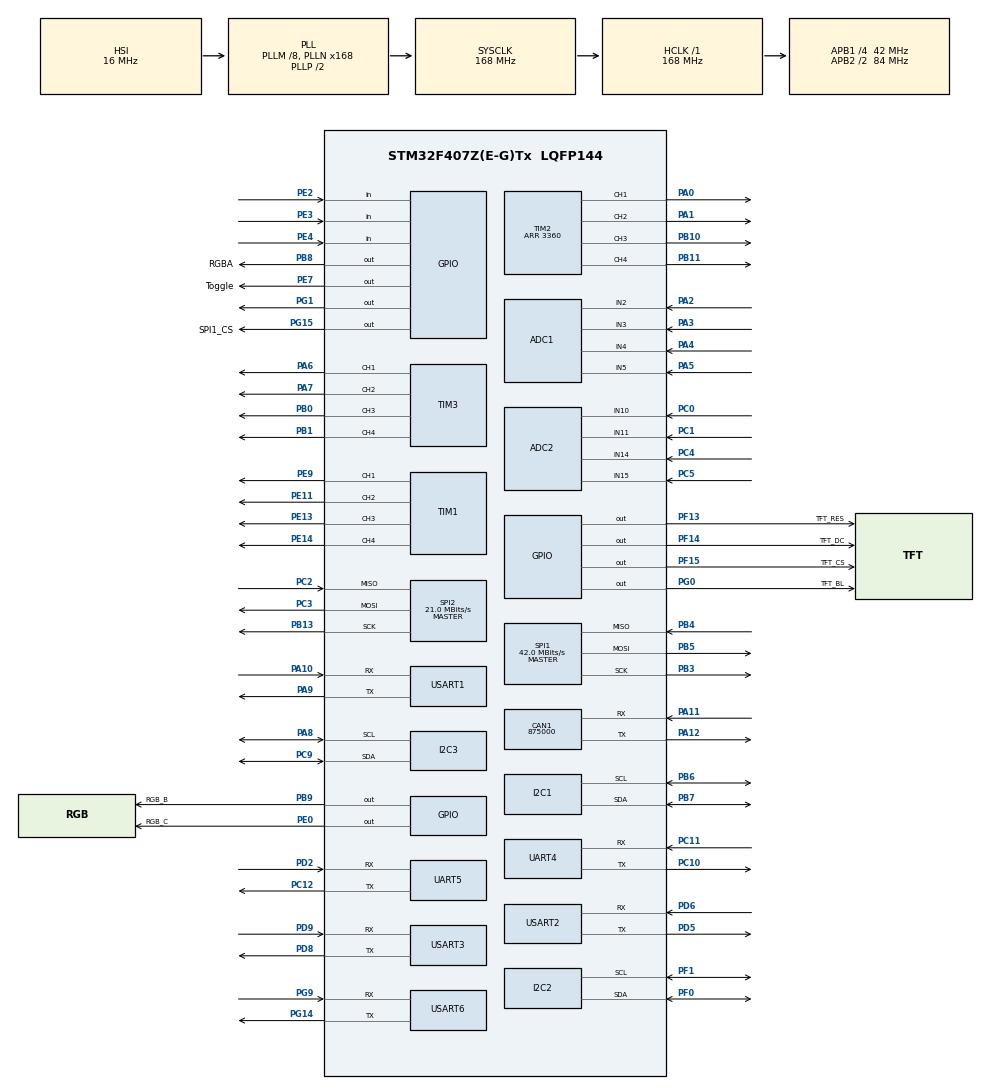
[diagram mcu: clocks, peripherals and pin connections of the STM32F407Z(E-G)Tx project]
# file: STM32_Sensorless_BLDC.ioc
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ADC1.Channel-0\#ChannelRegularConversion=ADC_CHANNEL_5
ADC1.Channel-1\#ChannelInjectedConversion=ADC_CHANNEL_2
ADC1.Channel-2\#ChannelInjectedConversion=ADC_CHANNEL_3
ADC1.Channel-3\#ChannelInjectedConversion=ADC_CHANNEL_4
ADC1.ContinuousConvMode=ENABLE
ADC1.ExternalTrigInjecConv=ADC_EXTERNALTRIGINJECCONV_T2_CC1
ADC1.ExternalTrigInjecConvEdge=ADC_EXTERNALTRIGINJECCONVEDGE_RISINGFALLING
ADC1.InjNumberOfConversion=3
ADC1.InjectedOffset-1\#ChannelInjectedConversion=0
ADC1.InjectedOffset-2\#ChannelInjectedConversion=0
ADC1.InjectedOffset-3\#ChannelInjectedConversion=0
ADC1.InjectedRank-1\#ChannelInjectedConversion=1
ADC1.InjectedRank-2\#ChannelInjectedConversion=2
ADC1.InjectedRank-3\#ChannelInjectedConversion=3
ADC1.NbrOfConversion=1
ADC1.NbrOfConversionFlag=1
ADC1.Rank-0\#ChannelRegularConversion=1
ADC1.SamplingTime-0\#ChannelRegularConversion=ADC_SAMPLETIME_15CYCLES
ADC1.SamplingTime-1\#ChannelInjectedConversion=ADC_SAMPLETIME_28CYCLES
ADC1.SamplingTime-2\#ChannelInjectedConversion=ADC_SAMPLETIME_28CYCLES
ADC1.SamplingTime-3\#ChannelInjectedConversion=ADC_SAMPLETIME_28CYCLES
ADC1.master=1
ADC2.Channel-0\#ChannelRegularConversion=ADC_CHANNEL_15
ADC2.Channel-1\#ChannelInjectedConversion=ADC_CHANNEL_10
ADC2.Channel-2\#ChannelInjectedConversion=ADC_CHANNEL_11
ADC2.Channel-3\#ChannelInjectedConversion=ADC_CHANNEL_14
ADC2.ContinuousConvMode=ENABLE
ADC2.ExternalTrigInjecConv=ADC_EXTERNALTRIGINJECCONV_T3_CC4
ADC2.ExternalTrigInjecConvEdge=ADC_EXTERNALTRIGINJECCONVEDGE_RISINGFALLING
ADC2.InjNumberOfConversion=3
ADC2.InjectedOffset-1\#ChannelInjectedConversion=0
ADC2.InjectedOffset-2\#ChannelInjectedConversion=0
ADC2.InjectedOffset-3\#ChannelInjectedConversion=0
ADC2.InjectedRank-1\#ChannelInjectedConversion=1
ADC2.InjectedRank-2\#ChannelInjectedConversion=2
ADC2.InjectedRank-3\#ChannelInjectedConversion=3
ADC2.NbrOfConversionFlag=1
ADC2.Rank-0\#ChannelRegularConversion=1
ADC2.SamplingTime-0\#ChannelRegularConversion=ADC_SAMPLETIME_3CYCLES
ADC2.SamplingTime-1\#ChannelInjectedConversion=ADC_SAMPLETIME_15CYCLES
ADC2.SamplingTime-2\#ChannelInjectedConversion=ADC_SAMPLETIME_15CYCLES
ADC2.SamplingTime-3\#ChannelInjectedConversion=ADC_SAMPLETIME_15CYCLES
ADC2.ScanConvMode=ENABLE
CAN1.CalculateBaudRate=875000
CAN1.CalculateTimeBit=1142
CAN1.CalculateTimeQuantum=380.95238095238096
Dma.ADC1.2.Direction=DMA_PERIPH_TO_MEMORY
Dma.ADC1.2.FIFOMode=DMA_FIFOMODE_DISABLE
Dma.ADC1.2.Instance=DMA2_Stream0
Dma.ADC1.2.MemDataAlignment=DMA_MDATAALIGN_HALFWORD
Dma.ADC1.2.MemInc=DMA_MINC_ENABLE
Dma.ADC1.2.Mode=DMA_CIRCULAR
Dma.ADC1.2.PeriphDataAlignment=DMA_PDATAALIGN_HALFWORD
Dma.ADC1.2.PeriphInc=DMA_PINC_DISABLE
Dma.ADC1.2.Priority=DMA_PRIORITY_LOW
Dma.Request0=SPI2_TX
Dma.Request1=SPI1_TX
Dma.Request2=ADC1
Dma.Request3=USART1_TX
Dma.Request4=USART1_RX
Dma.Request5=USART2_RX
Dma.Request6=USART2_TX
Dma.SPI1_TX.1.Direction=DMA_MEMORY_TO_PERIPH
Dma.SPI1_TX.1.FIFOMode=DMA_FIFOMODE_DISABLE
Dma.SPI1_TX.1.Instance=DMA2_Stream3
Dma.SPI1_TX.1.MemDataAlignment=DMA_MDATAALIGN_BYTE
Dma.SPI1_TX.1.MemInc=DMA_MINC_ENABLE
Dma.SPI1_TX.1.Mode=DMA_NORMAL
Dma.SPI1_TX.1.PeriphDataAlignment=DMA_PDATAALIGN_BYTE
Dma.SPI1_TX.1.PeriphInc=DMA_PINC_DISABLE
Dma.SPI1_TX.1.Priority=DMA_PRIORITY_HIGH
Dma.SPI2_TX.0.Direction=DMA_MEMORY_TO_PERIPH
Dma.SPI2_TX.0.FIFOMode=DMA_FIFOMODE_DISABLE
Dma.SPI2_TX.0.Instance=DMA1_Stream4
Dma.SPI2_TX.0.MemDataAlignment=DMA_MDATAALIGN_BYTE
Dma.SPI2_TX.0.MemInc=DMA_MINC_ENABLE
Dma.SPI2_TX.0.Mode=DMA_NORMAL
Dma.SPI2_TX.0.PeriphDataAlignment=DMA_PDATAALIGN_BYTE
Dma.SPI2_TX.0.PeriphInc=DMA_PINC_DISABLE
Dma.SPI2_TX.0.Priority=DMA_PRIORITY_HIGH
Dma.USART1_RX.4.Direction=DMA_PERIPH_TO_MEMORY
Dma.USART1_RX.4.FIFOMode=DMA_FIFOMODE_DISABLE
Dma.USART1_RX.4.Instance=DMA2_Stream2
Dma.USART1_RX.4.MemDataAlignment=DMA_MDATAALIGN_BYTE
Dma.USART1_RX.4.MemInc=DMA_MINC_ENABLE
Dma.USART1_RX.4.Mode=DMA_NORMAL
Dma.USART1_RX.4.PeriphDataAlignment=DMA_PDATAALIGN_BYTE
Dma.USART1_RX.4.PeriphInc=DMA_PINC_DISABLE
Dma.USART1_RX.4.Priority=DMA_PRIORITY_LOW
Dma.USART1_TX.3.Direction=DMA_MEMORY_TO_PERIPH
Dma.USART1_TX.3.FIFOMode=DMA_FIFOMODE_DISABLE
Dma.USART1_TX.3.Instance=DMA2_Stream7
Dma.USART1_TX.3.MemDataAlignment=DMA_MDATAALIGN_BYTE
Dma.USART1_TX.3.MemInc=DMA_MINC_ENABLE
Dma.USART1_TX.3.Mode=DMA_NORMAL
Dma.USART1_TX.3.PeriphDataAlignment=DMA_PDATAALIGN_BYTE
Dma.USART1_TX.3.PeriphInc=DMA_PINC_DISABLE
Dma.USART1_TX.3.Priority=DMA_PRIORITY_LOW
Dma.USART2_RX.5.Direction=DMA_PERIPH_TO_MEMORY
Dma.USART2_RX.5.FIFOMode=DMA_FIFOMODE_DISABLE
Dma.USART2_RX.5.Instance=DMA1_Stream5
Dma.USART2_RX.5.MemDataAlignment=DMA_MDATAALIGN_BYTE
Dma.USART2_RX.5.MemInc=DMA_MINC_ENABLE
Dma.USART2_RX.5.Mode=DMA_NORMAL
Dma.USART2_RX.5.PeriphDataAlignment=DMA_PDATAALIGN_BYTE
Dma.USART2_RX.5.PeriphInc=DMA_PINC_DISABLE
Dma.USART2_RX.5.Priority=DMA_PRIORITY_LOW
Dma.USART2_TX.6.Direction=DMA_MEMORY_TO_PERIPH
Dma.USART2_TX.6.FIFOMode=DMA_FIFOMODE_DISABLE
Dma.USART2_TX.6.Instance=DMA1_Stream6
Dma.USART2_TX.6.MemDataAlignment=DMA_MDATAALIGN_BYTE
Dma.USART2_TX.6.MemInc=DMA_MINC_ENABLE
Dma.USART2_TX.6.Mode=DMA_NORMAL
Dma.USART2_TX.6.PeriphDataAlignment=DMA_PDATAALIGN_BYTE
Dma.USART2_TX.6.PeriphInc=DMA_PINC_DISABLE
Dma.USART2_TX.6.Priority=DMA_PRIORITY_LOW
FREERTOS.Tasks01=defaultTask,24,128,StartDefaultTask,Default,NULL,Dynamic,NULL,NULL
Mcu.Family=STM32F4
Mcu.Name=STM32F407Z(E-G)Tx
Mcu.Package=LQFP144
NVIC.ADC_IRQn=true\:5\:0\:false\:false\:true\:true\:true\:true\:true
NVIC.DMA1_Stream4_IRQn=true\:5\:0\:false\:false\:true\:true\:false\:true\:true
NVIC.DMA1_Stream5_IRQn=true\:5\:0\:false\:false\:true\:true\:false\:true\:true
NVIC.DMA1_Stream6_IRQn=true\:5\:0\:false\:false\:true\:true\:false\:true\:true
NVIC.DMA2_Stream0_IRQn=true\:5\:0\:false\:false\:true\:true\:false\:true\:true
NVIC.DMA2_Stream2_IRQn=true\:5\:0\:false\:false\:true\:true\:false\:true\:true
NVIC.DMA2_Stream3_IRQn=true\:5\:0\:false\:false\:true\:true\:false\:true\:true
NVIC.DMA2_Stream7_IRQn=true\:5\:0\:false\:false\:true\:true\:false\:true\:true
NVIC.PriorityGroup=NVIC_PRIORITYGROUP_4
NVIC.SPI1_IRQn=true\:5\:0\:false\:false\:true\:true\:true\:true\:true
NVIC.SPI2_IRQn=true\:5\:0\:false\:false\:true\:true\:true\:true\:true
NVIC.TIM1_BRK_TIM9_IRQn=true\:5\:0\:false\:false\:true\:true\:true\:true\:true
NVIC.TIM1_UP_TIM10_IRQn=true\:5\:0\:false\:false\:true\:true\:true\:true\:true
NVIC.TIM5_IRQn=true\:15\:0\:false\:false\:true\:false\:false\:true\:true
NVIC.TimeBase=TIM5_IRQn
NVIC.TimeBaseIP=TIM5
NVIC.USART1_IRQn=true\:5\:0\:false\:false\:true\:true\:true\:true\:true
NVIC.USART2_IRQn=true\:5\:0\:false\:false\:true\:true\:true\:true\:true
PA0-WKUP.Signal=S_TIM2_CH1_ETR
PA1.Signal=S_TIM2_CH2
PA10.Mode=Asynchronous
PA10.Signal=USART1_RX
PA11.Mode=CAN_Activate
PA11.Signal=CAN1_RX
PA12.Mode=CAN_Activate
PA12.Signal=CAN1_TX
PA13.Mode=Serial_Wire
PA13.Signal=SYS_JTMS-SWDIO
PA14.Mode=Serial_Wire
PA14.Signal=SYS_JTCK-SWCLK
PA2.Signal=ADCx_IN2
PA3.Signal=ADCx_IN3
PA4.Signal=ADCx_IN4
PA5.Signal=ADCx_IN5
PA6.Signal=S_TIM3_CH1
PA7.Signal=S_TIM3_CH2
PA8.Mode=I2C
PA8.Signal=I2C3_SCL
PA9.Mode=Asynchronous
PA9.Signal=USART1_TX
PB0.Signal=S_TIM3_CH3
PB1.Signal=S_TIM3_CH4
PB10.Signal=S_TIM2_CH3
PB11.Signal=S_TIM2_CH4
PB13.Mode=Full_Duplex_Master
PB13.Signal=SPI2_SCK
PB3.Mode=Full_Duplex_Master
PB3.Signal=SPI1_SCK
PB4.Mode=Full_Duplex_Master
PB4.Signal=SPI1_MISO
PB5.Mode=Full_Duplex_Master
PB5.Signal=SPI1_MOSI
PB6.Mode=I2C
PB6.Signal=I2C1_SCL
PB7.Mode=I2C
PB7.Signal=I2C1_SDA
PB8.GPIO_Label=RGBA
PB8.GPIO_PuPd=GPIO_PULLDOWN
PB8.GPIO_Speed=GPIO_SPEED_FREQ_HIGH
PB8.PinState=GPIO_PIN_SET
PB8.Signal=GPIO_Output
PB9.GPIO_Label=RGB_B
PB9.GPIO_ModeDefaultOutputPP=GPIO_MODE_OUTPUT_PP
PB9.GPIO_PuPd=GPIO_PULLDOWN
PB9.GPIO_Speed=GPIO_SPEED_FREQ_HIGH
PB9.PinState=GPIO_PIN_SET
PB9.Signal=GPIO_Output
PC0.Signal=ADCx_IN10
PC1.Signal=ADCx_IN11
PC10.Mode=Asynchronous
PC10.Signal=UART4_TX
PC11.Mode=Asynchronous
PC11.Signal=UART4_RX
PC12.Mode=Asynchronous
PC12.Signal=UART5_TX
PC14-OSC32_IN.Mode=LSE-External-Oscillator
PC14-OSC32_IN.Signal=RCC_OSC32_IN
PC15-OSC32_OUT.Mode=LSE-External-Oscillator
PC15-OSC32_OUT.Signal=RCC_OSC32_OUT
PC2.Mode=Full_Duplex_Master
PC2.Signal=SPI2_MISO
PC3.Mode=Full_Duplex_Master
PC3.Signal=SPI2_MOSI
PC4.Signal=ADCx_IN14
PC5.Signal=ADCx_IN15
PC9.Mode=I2C
PC9.Signal=I2C3_SDA
PD2.Mode=Asynchronous
PD2.Signal=UART5_RX
PD5.Mode=Asynchronous
PD5.Signal=USART2_TX
PD6.Mode=Asynchronous
PD6.Signal=USART2_RX
PD8.Mode=Asynchronous
PD8.Signal=USART3_TX
PD9.Mode=Asynchronous
PD9.Signal=USART3_RX
PE0.GPIO_Label=RGB_C
PE0.GPIO_PuPd=GPIO_PULLDOWN
PE0.GPIO_Speed=GPIO_SPEED_FREQ_HIGH
PE0.PinState=GPIO_PIN_SET
PE0.Signal=GPIO_Output
PE11.Signal=S_TIM1_CH2
PE13.Signal=S_TIM1_CH3
PE14.Signal=S_TIM1_CH4
PE2.GPIO_PuPd=GPIO_PULLUP
PE2.Signal=GPIO_Input
PE3.GPIO_PuPd=GPIO_PULLUP
PE3.Signal=GPIO_Input
PE4.GPIO_PuPd=GPIO_PULLUP
PE4.Signal=GPIO_Input
PE7.GPIO_Label=Toggle
PE7.GPIO_ModeDefaultOutputPP=GPIO_MODE_OUTPUT_PP
PE7.GPIO_PuPd=GPIO_PULLUP
PE7.GPIO_Speed=GPIO_SPEED_FREQ_HIGH
PE7.PinState=GPIO_PIN_SET
PE7.Signal=GPIO_Output
PE9.Signal=S_TIM1_CH1
PF0.Mode=I2C
PF0.Signal=I2C2_SDA
PF1.Mode=I2C
PF1.Signal=I2C2_SCL
PF13.GPIO_Label=TFT_RES
PF13.GPIO_PuPd=GPIO_PULLUP
PF13.GPIO_Speed=GPIO_SPEED_FREQ_VERY_HIGH
PF13.PinState=GPIO_PIN_SET
PF13.Signal=GPIO_Output
PF14.GPIO_Label=TFT_DC
PF14.GPIO_PuPd=GPIO_PULLUP
PF14.GPIO_Speed=GPIO_SPEED_FREQ_VERY_HIGH
PF14.PinState=GPIO_PIN_SET
PF14.Signal=GPIO_Output
PF15.GPIO_Label=TFT_CS
PF15.GPIO_PuPd=GPIO_PULLUP
PF15.GPIO_Speed=GPIO_SPEED_FREQ_VERY_HIGH
PF15.PinState=GPIO_PIN_SET
PF15.Signal=GPIO_Output
PG0.GPIO_Label=TFT_BL
PG0.GPIO_PuPd=GPIO_PULLUP
PG0.GPIO_Speed=GPIO_SPEED_FREQ_VERY_HIGH
PG0.PinState=GPIO_PIN_SET
PG0.Signal=GPIO_Output
PG1.Signal=GPIO_Output
PG14.Mode=Asynchronous
PG14.Signal=USART6_TX
PG15.GPIO_Label=SPI1_CS
PG15.GPIO_ModeDefaultOutputPP=GPIO_MODE_OUTPUT_PP
PG15.GPIO_PuPd=GPIO_PULLUP
PG15.GPIO_Speed=GPIO_SPEED_FREQ_HIGH
PG15.PinState=GPIO_PIN_SET
PG15.Signal=GPIO_Output
PG9.Mode=Asynchronous
PG9.Signal=USART6_RX
PH0-OSC_IN.Mode=HSE-External-Oscillator
PH0-OSC_IN.Signal=RCC_OSC_IN
PH1-OSC_OUT.Mode=HSE-External-Oscillator
PH1-OSC_OUT.Signal=RCC_OSC_OUT
ProjectManager.HeapSize=0x2000
ProjectManager.StackSize=0x4000
ProjectManager.TargetToolchain=MDK-ARM V5.32
RCC.48MHZClocksFreq_Value=84000000
RCC.AHBFreq_Value=168000000
RCC.APB1CLKDivider=RCC_HCLK_DIV4
RCC.APB1Freq_Value=42000000
RCC.APB1TimFreq_Value=84000000
RCC.APB2CLKDivider=RCC_HCLK_DIV2
RCC.APB2Freq_Value=84000000
RCC.APB2TimFreq_Value=168000000
RCC.CortexFreq_Value=168000000
RCC.HCLKFreq_Value=168000000
RCC.HSE_VALUE=25000000
RCC.HSI_VALUE=16000000
RCC.PLLM=8
RCC.PLLN=168
RCC.SYSCLKFreq_VALUE=168000000
RCC.SYSCLKSource=RCC_SYSCLKSOURCE_PLLCLK
RCC.VCOOutputFreq_Value=336000000
SH.ADCx_IN10.0=ADC2_IN10,IN10
SH.ADCx_IN11.0=ADC2_IN11,IN11
SH.ADCx_IN14.0=ADC2_IN14,IN14
SH.ADCx_IN15.0=ADC2_IN15,IN15
SH.ADCx_IN2.0=ADC1_IN2,IN2
SH.ADCx_IN3.0=ADC1_IN3,IN3
SH.ADCx_IN4.0=ADC1_IN4,IN4
SH.ADCx_IN5.0=ADC1_IN5,IN5
SH.S_TIM1_CH1.0=TIM1_CH1,PWM Generation1 CH1
SH.S_TIM1_CH2.0=TIM1_CH2,PWM Generation2 CH2
SH.S_TIM1_CH3.0=TIM1_CH3,PWM Generation3 CH3
SH.S_TIM1_CH4.0=TIM1_CH4,PWM Generation4 CH4
SH.S_TIM2_CH1_ETR.0=TIM2_CH1,PWM Generation1 CH1
SH.S_TIM2_CH2.0=TIM2_CH2,PWM Generation2 CH2
SH.S_TIM2_CH3.0=TIM2_CH3,PWM Generation3 CH3
SH.S_TIM2_CH4.0=TIM2_CH4,PWM Generation4 CH4
SH.S_TIM3_CH1.0=TIM3_CH1,PWM Generation1 CH1
SH.S_TIM3_CH2.0=TIM3_CH2,PWM Generation2 CH2
SH.S_TIM3_CH3.0=TIM3_CH3,PWM Generation3 CH3
SH.S_TIM3_CH4.0=TIM3_CH4,PWM Generation4 CH4
SPI1.CalculateBaudRate=42.0 MBits/s
SPI1.Direction=SPI_DIRECTION_2LINES
SPI1.Mode=SPI_MODE_MASTER
SPI1.VirtualType=VM_MASTER
SPI2.CalculateBaudRate=21.0 MBits/s
SPI2.Direction=SPI_DIRECTION_2LINES
SPI2.Mode=SPI_MODE_MASTER
SPI2.VirtualType=VM_MASTER
STMicroelectronics.X-CUBE-ALGOBUILD.1.4.0.LibraryCcDSPOoLibraryJjDSPOoLibrary=true
TIM1.Channel-PWM\ Generation1\ CH1=TIM_CHANNEL_1
TIM1.Channel-PWM\ Generation2\ CH2=TIM_CHANNEL_2
TIM1.Channel-PWM\ Generation3\ CH3=TIM_CHANNEL_3
TIM1.Channel-PWM\ Generation4\ CH4=TIM_CHANNEL_4
TIM10.Period=1000
TIM10.Prescaler=84-1
TIM2.Channel-PWM\ Generation1\ CH1=TIM_CHANNEL_1
TIM2.Channel-PWM\ Generation2\ CH2=TIM_CHANNEL_2
TIM2.Channel-PWM\ Generation3\ CH3=TIM_CHANNEL_3
TIM2.Channel-PWM\ Generation4\ CH4=TIM_CHANNEL_4
TIM2.CounterMode=TIM_COUNTERMODE_CENTERALIGNED1
TIM2.Period=3360
TIM3.Channel-PWM\ Generation1\ CH1=TIM_CHANNEL_1
TIM3.Channel-PWM\ Generation2\ CH2=TIM_CHANNEL_2
TIM3.Channel-PWM\ Generation3\ CH3=TIM_CHANNEL_3
TIM3.Channel-PWM\ Generation4\ CH4=TIM_CHANNEL_4
TIM9.Period=1000
TIM9.Prescaler=84-1
UART4.VirtualMode=Asynchronous
UART5.VirtualMode=Asynchronous
USART1.VirtualMode=VM_ASYNC
USART2.VirtualMode=VM_ASYNC
USART3.VirtualMode=VM_ASYNC
USART6.VirtualMode=VM_ASYNC
VP_FREERTOS_VS_CMSIS_V2.Mode=CMSIS_V2
VP_STMicroelectronics.X-CUBE-ALGOBUILD_VS_DSPOoLibraryJjLibrary_1.4.0_1.4.0.Mode=DSPOoLibraryJjLibrary
VP_SYS_VS_tim5.Mode=TIM5
VP_TIM10_VS_ClockSourceINT.Mode=Enable_Timer
VP_TIM1_VS_ClockSourceINT.Mode=Internal
VP_TIM2_VS_ClockSourceINT.Mode=Internal
VP_TIM3_VS_ClockSourceINT.Mode=Internal
VP_TIM9_VS_ClockSourceINT.Mode=Internal
board=custom

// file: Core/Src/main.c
/* USER CODE BEGIN Header */
/**
  ******************************************************************************
  * @file           : main.c
  * @brief          : Main program body
  ******************************************************************************
  * @attention
  *
  * Copyright (c) 2025 STMicroelectronics.
  * All rights reserved.
  *
  * This software is licensed under terms that can be found in the LICENSE file
  * in the root directory of this software component.
  * If no LICENSE file comes with this software, it is provided AS-IS.
  *
  ******************************************************************************
  */
/* USER CODE END Header */
#include "main.h"
#include "cmsis_os.h"
#include "adc.h"
#include "can.h"
#include "dma.h"
#include "i2c.h"
#include "spi.h"
#include "tim.h"
#include "usart.h"
#include "gpio.h"

/* USER CODE BEGIN Includes */
#include "arm_math.h"
#include "stdio.h"
#include "stdarg.h"
#include "AS5600.h"
#include "string.h"
#include "lcd_init.h"
#include "lcd.h"
#include "stdarg.h"
#include <string.h>
#include "fifo.h"
#include "MPU9250-DMP.h"
#include "MPU9250_RegisterMap.h"
#include "math.h"
#include "inv_mpu_dmp_motion_driver.h"
#include "inv_mpu.h"
#include "stm32_mpu9250_clk.h"
#include "stm32_mpu9250_i2c.h"
#include "Algorithmic.h"
#include "lvgl.h"                // ??????LVGL??????????????????
#include "lv_port_disp.h"        // LVGL????????
#include "lv_port_indev.h"       // LVGL????????
#include "init_file.h"
#include "foc_drv.h"
#include "pid.h"
#include "timer_utils.h"
#include "uart_task.h"
#include "current_sense.h"
#include "foc_task.h"
#include "pid_storage.h"
/* USER CODE END Includes */

/* USER CODE BEGIN PD */
/* 电流采样参数/开环调试参数已迁移到 current_sense.h / App/foc_task.c */

/* USER CODE END PD */

/* USER CODE BEGIN PV */
// float Init_Iabc[3] , Iabc[3];//predict
Udq_Struct Udq_M0;
Ualpbe_Struct Ualpbe_M0;
Iabc_Struct Iabc_M0;
Ialpbe_Struct Ialpbe_M0;
Ialpbe_Struct Ialpbe_M0_last;
Iqd_Struct Iqd_M0;
SVPWM_Struct SVPWM_M0;
AS5600 M0;
float Udc = 12.6f;
uint16_t ADC_Value[3] = {0};
uint32_t ADC_buff[3] = {0};

volatile float Mech_Angle = 0.0f;
float Elec_Angle = 0.0f;
volatile float Mech_RPM = 0.0f;
float Mech_RPM_filter = 0.0f;

uint16_t ucAdc[3];
uint8_t Flag;
float Udq[2] = {0 , 10};
float Uab[2];
float Iab[2] , Iab_Last[2];
float Idq[2];
double sincos[2];
uint32_t CNT;
uint16_t Counter;

float I_Target[2] = {0 , 0.55};
float C_Kp=0.7535 , C_Ki=0.000475;
float Speed , Speed_sum , Speed_New;
float Iq_sum;
uint16_t Speed_Target = 1000;
float S_Kp = 0.0125, S_Ki = 0.00028 , S_Kd = 0.021;
const float fc = 5000;
const float Ts = 0.00005;
float b = 2*3.1415926f*fc*Ts;
float a=0.1556;//b/(b+1)
uint8_t SpeedLoopCounter;
float We;
/* T必须和实际调用SMO()的控制节拍(FOC_LOOP_DT_S,当前0.5ms)一致,否则电流预测模型
   (Iab_fore_New的离散化)和PLL积分步长(We_fore*T)都会和真实拍频对不上,估算失准。
   之前这里硬编码的0.0007255是历史遗留值,和FOC_LOOP_DT_S对不上。 */
/* Initial SMO model values for the 720KV motor: Rs≈0.07ohm, Ls≈35uH,
   and rotor flux linkage≈0.00189Wb. */
float R = 0.07f, Ld = 0.000035f, Lq = 0.000035f,
      T = FOC_LOOP_DT_S, flux = 0.00189f;
float Iab_fore_New[2] , Iab_fore_Last[2];
float h = 2.5 , Vab[2] , Vab_Filter[2];
float Eab[2];

float Vab_alpha = 0.286;
float Theta_fore_New , Theta_fore_Last , We_fore;
float PLL_Kp =0.034 , PLL_Ki= 2.12;

float Alpha;

uint16_t CCNNTT;
uint16_t Start_Flag = 1, Start_CNT = 0;

extern float pitch_inside, roll_inside, yaw_inside;
extern uint32_t imu_task_counter;  // ???IMU????????
float pitch = 0.0f;
float roll = 0.0f;
float yaw = 0.0f;
volatile uint32_t TIM9_ISR_CNT = 0;
volatile uint32_t TIM10_ISR_CNT = 0;
uint32_t TIM9_100Hz_CNT = 0;  // 100Hz?????????
uint32_t TIM10_task_CNT = 0;
float angle = 0.0f;
PIDController PID_Current_D;
PIDController PID_Current_Q;
PIDController PID_Speed;
PIDController PID_Position;
PID_Param_t Id_pid;
PID_Param_t Iq_pid;
PID_Param_t Speed_pid;
Key_Struct_init Key[3];
// PID Q ?????????????????????
float PID_Q_Kp = 0.0f;
float PID_Q_Ki = 0.0f;
float PID_Q_Kd = 0.0f;

/* KEY_init BEGIN*/
// ????????????????s??????1kHz???
const uint16_t DEBOUNCE_MS = 5;       // 5ms ???
const uint16_t SHORT_MS = 200;        // ?????? 200ms
const uint16_t LONG_MS = 500;         // ?????? 500ms????????
const uint16_t DOUBLE_MS = 300;       // ??????????300ms
const uint16_t SINGLE_MS = 150;       // ??????????150ms
/* KEY_init END*/

/* UASRT BEGIN*/
FrameRxHandler frameHandler_one;
uint8_t rx1_buffer[BUFFER_SIZE] = {0};
volatile uint16_t rx1_len = 0;
volatile uint8_t recv1_end_flag = 0;
volatile uint8_t rx1_addr = 0;
volatile uint16_t rx1_length = 0;
volatile uint8_t rx1_data[8] = {0};
volatile uint8_t rx1_checksum = 0;
volatile uint8_t rx1_checksum_flag = 0;
uint8_t rx1_frame_buffer[BUFFER_SIZE] = {0};
volatile uint16_t rx1_frame_len = 0;

/* UASRT END*/

/* CodeSet BEGIN*/
T_FlipFlop_t Key_Y;
uint8_t Key_clk = 0;
uint8_t T_input1 = 0;
Edge_Detector_t edge_detector;
/* CodeSet END*/

/* IMU BEGIN*/
extern osMessageQueueId_t IMUQueueHandle;
extern osMessageQueueId_t FOCQueueHandle;
extern osMessageQueueId_t PIDQueueHandle;
extern osMessageQueueId_t UARTQueueHandle;
/* IMU END*/

/* USER CODE END PV */

void SystemClock_Config(void);
void MX_FREERTOS_Init(void);
/* USER CODE BEGIN PFP */

/* Private function prototypes -----------------------------------------------*/
/* ------------------?????????printf?????????????------------------*/

#if !defined(__MICROLIB)

//#pragma import(__use_no_semihosting)
__asm (".global __use_no_semihosting\n\t");
void _sys_exit(int x) //??????????????
{
  x = x;
}
//__use_no_semihosting was requested, but _ttywrch was
void _ttywrch(int ch)
{
    ch = ch;
}
struct __FILE
{
  int handle;
};
FILE __stdout;

#endif

#if defined ( __GNUC__ ) && !defined (__clang__)
#define PUTCHAR_PROTOTYPE int __io_putchar(int ch)
#else
#define PUTCHAR_PROTOTYPE int fputc(int ch, FILE *f)
#endif
PUTCHAR_PROTOTYPE
{
  UART1_SendByte((uint8_t)ch);
  return ch;
}
/* USER CODE END PFP */

/* USER CODE BEGIN 0 */

/* 独立看门狗(IWDG): 之前工程完全没有配置IWDG,固件一旦在某个ISR/任务里死锁或跑飞,
 * 除了触发HardFault(且HardFault_Handler也只是while(1)空转)之外没有任何自动恢复
 * 手段,电机可能带着最后一次写入的PWM占空比一直卡死输出。
 * 直接操作IWDG寄存器而不经HAL,避免还要把stm32f4xx_hal_iwdg.c加入Keil工程。
 * LSI约32kHz,预分频64 => 计数时钟约500Hz,重载值249 => 超时约500ms。
 * 在TIM10的1ms(现为0.5ms)FOC中断里每拍喂狗(见HAL_TIM_PeriodElapsedCallback),
 * 只要该中断还在正常跑就不会触发复位;一旦发生致命异常或FOC中断本身被卡死,
 * 500ms内没人喂狗,硬件自动复位。 */
#define IWDG_KR_UNLOCK   0x5555U
#define IWDG_KR_RELOAD   0xAAAAU
#define IWDG_KR_ENABLE   0xCCCCU
#define IWDG_PRESCALER_64_REG 0x04U
#define IWDG_RELOAD_VALUE     249U

static void IWDG_EmergencyInit(void)
{
  IWDG->KR = IWDG_KR_UNLOCK;
  IWDG->PR = IWDG_PRESCALER_64_REG;
  IWDG->RLR = IWDG_RELOAD_VALUE;
  while (IWDG->SR != 0U)
  {
    /* 等待PR/RLR写入生效 */
  }
  IWDG->KR = IWDG_KR_RELOAD;
  IWDG->KR = IWDG_KR_ENABLE;
}

/* USER CODE END 0 */

int main(void)
{

  /* MCU Configuration--------------------------------------------------------*/

  /* Reset of all peripherals, Initializes the Flash interface and the Systick. */
  HAL_Init();

  /* Configure the system clock */
  SystemClock_Config();

  /* Initialize all configured peripherals */
  MX_GPIO_Init();
  MX_DMA_Init();
  MX_ADC1_Init();
  MX_ADC2_Init();
  MX_CAN1_Init();
  MX_I2C1_Init();
  MX_I2C2_Init();
  MX_I2C3_Init();
  MX_SPI1_Init();
  MX_SPI2_Init();
  MX_TIM1_Init();
  MX_TIM2_Init();
  MX_TIM3_Init();
  MX_UART4_Init();
  MX_UART5_Init();
  MX_USART1_UART_Init();
  MX_USART2_UART_Init();
  MX_USART3_UART_Init();
  MX_USART6_UART_Init();
  MX_TIM9_Init();
  MX_TIM10_Init();
  /* USER CODE BEGIN 2 */
  // Init_All();
  __HAL_UART_ENABLE_IT(&huart1,UART_IT_IDLE);//??????
  // __HAL_UART_ENABLE_IT(&huart1,UART_IT_RXNE);//??????
  HAL_UART_Receive_DMA(&huart1,rx1_buffer,BUFFER_SIZE);
  printf("$BOOT#\r\n");
  printf("$BOOT#\r\n");

  __HAL_TIM_CLEAR_IT(&htim3,TIM_IT_UPDATE);
  HAL_TIM_Base_Start_IT(&htim3);
  __HAL_TIM_CLEAR_IT(&htim9,TIM_IT_UPDATE);
  HAL_TIM_Base_Start_IT(&htim9);

  HAL_ADCEx_InjectedStart(&hadc1);
  __HAL_ADC_ENABLE_IT(&hadc1,ADC_IT_JEOC);

  HAL_ADC_Start_IT(&hadc1);
  HAL_ADC_Start_DMA(&hadc1,(uint32_t *)ADC_buff,12);
  HAL_ADC_PollForConversion(&hadc1, 50);
  HAL_ADC_Start(&hadc1);
  // HAL_ADCEx_InjectedStart_IT(&hadc1);

  HAL_TIM_PWM_Start(&htim2,TIM_CHANNEL_1);
  __HAL_TIM_SET_COMPARE(&htim2, TIM_CHANNEL_1, 1680);
  Current_CalibrateOffset(512U);
  HAL_TIM_PWM_Start(&htim2,TIM_CHANNEL_2);
  HAL_TIM_PWM_Start(&htim2,TIM_CHANNEL_3);
  HAL_TIM_PWM_Start(&htim2,TIM_CHANNEL_4);

  svpwm_init(&Udq_M0,0.0f,0.0f);

  AS5600_Init(&M0,&hi2c2);
  DWT_Init();
  /* maxIntegral是integral项本身的兜底限幅,不是output限幅,但两者需要量级匹配:
     若maxIntegral远大于maxOutput/ki,integral在触发output限幅前就已经能让ki*integral
     单独超过maxOutput,等于兜底限幅形同虚设。这里按 maxOutput/ki 的量级来设(4V/0.1≈40),
     配合PID_Position_Calculate里新加的条件积分抗饱和逻辑,双重防止电流环输出打满时
     integral还在无意义增长导致的退饱和延迟、Iq大幅超调来回跳变。 */
  PID_Init(&PID_Current_D,4.0f,-4.0f,40.0f);
  PID_Init(&PID_Current_Q,4.0f,-4.0f,40.0f);
  /* maxIntegral曾经是0.0f: PID_Position_Calculate(Bsp/pid.c)里积分限幅是直接钳位pid->integral到
     [-maxIntegral,+maxIntegral],0意味着每次调用后积分项都被强制清零,不管上位机把Ki设成多少,
     速度环/位置环的I都不可能真正累积生效。改成和电流环同一比例(maxOutput*25)的非零值,
     只是给积分饱和留个安全上限,不代表调好的增益,具体还要上机重新试凑Ki/该限幅。 */
  /* 速度环输出直接作为Iq目标，限制在2A范围内。 */
  PID_Init(&PID_Speed,2.0f,-2.0f,25.0f);
  PID_Init(&PID_Position,200.0f,-200.0f,500.0f);
  PID_param_set(&PID_Current_D,0.0517f,0.1f,0.0f);
  PID_param_set(&PID_Current_Q,0.0517f,0.1f,0.0f);
  PID_param_set(&PID_Speed,0.01f,0.0f,0.0f);
  PID_param_set(&PID_Position,200.0f,0.0f,0.0f);
  PID_Current_D.target = 0.0f;
  PID_Current_Q.target = 0.0f;
  PID_Speed.target = 0.0f;
  PID_Position.target = 0.0f;
  /* 若Flash里存过上位机保存的PID参数则覆盖上面的编译期默认值;Flash为空/校验失败时PidStorage_Load
     直接返回0,不改动上面刚设好的默认参数 */
  PidStorage_Load();
  // ?????PID Q ?????????
  __HAL_TIM_CLEAR_IT(&htim10,TIM_IT_UPDATE);
  HAL_TIM_Base_Start_IT(&htim10);

  /* 放在TIM10中断使能之后再启动看门狗,避免上面AS5600_Init/Current_CalibrateOffset
   * 等阻塞初始化(最坏情况下可能到几百ms)在看门狗启动前就已完成,不会被误触发复位;
   * 之后每拍喂狗都在TIM10 ISR里进行,和这里的启动顺序无关。 */
  /* 临时禁用: 排查"重新启用看门狗后板子卡死不亮"的问题,先确认是否是看门狗导致。
     确认后记得恢复。 */
  // IWDG_EmergencyInit();

  /* USER CODE END 2 */

  /* Init scheduler */
  osKernelInitialize();  /* Call init function for freertos objects (in cmsis_os2.c) */
  MX_FREERTOS_Init();

  /* Start scheduler */
  osKernelStart();

  /* We should never get here as control is now taken by the scheduler */

  /* Infinite loop */
  while (1)
  {

  }
}

void SystemClock_Config(void)
{
  RCC_OscInitTypeDef RCC_OscInitStruct = {0};
  RCC_ClkInitTypeDef RCC_ClkInitStruct = {0};

  /** Configure the main internal regulator output voltage
  */
  __HAL_RCC_PWR_CLK_ENABLE();
  __HAL_PWR_VOLTAGESCALING_CONFIG(PWR_REGULATOR_VOLTAGE_SCALE1);

  /** Initializes the RCC Oscillators according to the specified parameters
  * in the RCC_OscInitTypeDef structure.
  */
  RCC_OscInitStruct.OscillatorType = RCC_OSCILLATORTYPE_HSI;
  RCC_OscInitStruct.HSIState = RCC_HSI_ON;
  RCC_OscInitStruct.HSICalibrationValue = RCC_HSICALIBRATION_DEFAULT;
  RCC_OscInitStruct.PLL.PLLState = RCC_PLL_ON;
  RCC_OscInitStruct.PLL.PLLSource = RCC_PLLSOURCE_HSI;
  RCC_OscInitStruct.PLL.PLLM = 8;
  RCC_OscInitStruct.PLL.PLLN = 168;
  RCC_OscInitStruct.PLL.PLLP = RCC_PLLP_DIV2;
  RCC_OscInitStruct.PLL.PLLQ = 4;
  if (HAL_RCC_OscConfig(&RCC_OscInitStruct) != HAL_OK)
  {
    Error_Handler();
  }

  /** Initializes the CPU, AHB and APB buses clocks
  */
  RCC_ClkInitStruct.ClockType = RCC_CLOCKTYPE_HCLK|RCC_CLOCKTYPE_SYSCLK
                              |RCC_CLOCKTYPE_PCLK1|RCC_CLOCKTYPE_PCLK2;
  RCC_ClkInitStruct.SYSCLKSource = RCC_SYSCLKSOURCE_PLLCLK;
  RCC_ClkInitStruct.AHBCLKDivider = RCC_SYSCLK_DIV1;
  RCC_ClkInitStruct.APB1CLKDivider = RCC_HCLK_DIV4;
  RCC_ClkInitStruct.APB2CLKDivider = RCC_HCLK_DIV2;

  if (HAL_RCC_ClockConfig(&RCC_ClkInitStruct, FLASH_LATENCY_5) != HAL_OK)
  {
    Error_Handler();
  }
}

/* USER CODE BEGIN 4 */

/* 以下均为中断回调/事件分发: 具体驱动实现见 Bsp/current_sense.c, Bsp/foc_drv.c,
 * App/foc_task.c, App/uart_task.c */

void HAL_ADCEx_InjectedConvCpltCallback(ADC_HandleTypeDef *hadc)
{
  if(hadc->Instance == ADC1)
  {
      Current_read();
  }

}

void HAL_UART_TxCpltCallback(UART_HandleTypeDef *huart)
{
  if (huart->Instance == USART2)
  {
      UART2_RawAdcTxComplete();
  }
}

void HAL_UART_ErrorCallback(UART_HandleTypeDef *huart)
{
  if (huart->Instance == USART2)
  {
      UART2_RawAdcTxComplete();
  }
}
/* USER CODE END 4 */

void HAL_TIM_PeriodElapsedCallback(TIM_HandleTypeDef *htim)
{
  /* USER CODE BEGIN Callback 0 */
  if (htim->Instance == TIM9)
  {
    TIM9_ISR_CNT++;
  }
  if (htim->Instance == TIM10) // 1ms tick
  {
    TIM10_ISR_CNT++;

    /* 独立看门狗喂狗: 只要FOC控制中断还在正常节拍运行就持续喂狗,
       一旦发生致命异常(见stm32f4xx_it.c里的FOC_EmergencyPWMOff)或本ISR自身
       被卡死,500ms内不会再有喂狗,硬件自动复位。 */
    IWDG->KR = IWDG_KR_RELOAD;

    FOC_ModeDispatch();
    Key_read();
    if(++TIM10_task_CNT >= 1000)
    {
      TIM10_task_CNT = 0;

    }

    // ????????????????????? +1 ms??
    for (uint8_t i = 0; i < 3; i++)
    {
        if (Key[i].Time_Count_Flag == 1)
        {
            Key[i].Press_Time_Count++; // ?????s
        }
        else
        {
            Key[i].Press_Time_Count = 0;
        }

        if (Key[i].Time_Count_Flag == 1 && Key[i].Press_Time_Count >= LONG_MS && Key[i].Key_Long_Flag == 0) {
          Key[i].Key_Long_Flag = 1;
          Key[i].mode = 2;
          Key[i].mode_now = 2;
          Key[i].Step = 0;
          Key[i].Time_Count_Flag = 0;
        }

        switch (Key[i].Step)
        {
            case 0:
            {
                if (Key[i].Key_State == 0) {
                    Key[i].Step = 1;
                    Key[i].Time_Count_Flag = 1;
                } else {
                    Key[i].mode_now = 0;
                }
            } break;
            case 1:
            {
                if (Key[i].Press_Time_Count > DEBOUNCE_MS && Key[i].Key_State == 0) {
                    Key[i].Step = 2;
                }
            } break;
            case 2:
            {
                if (Key[i].Key_State == 1) {
                    if (Key[i].Press_Time_Count < SHORT_MS) {
                        Key[i].Step = 3;
                    }
                    if (Key[i].Press_Time_Count > LONG_MS) {
                        Key[i].Step = 0;
                        Key[i].Time_Count_Flag = 0;
                        Key[i].Key_Long_Flag = 1;
                        Key[i].mode = 2;
                        Key[i].mode_now = 2;
                    }
                }
            } break;
            case 3:
            {
                if (Key[i].Key_State == 0 && Key[i].Press_Time_Count < DOUBLE_MS) {
                    Key[i].Step = 4;
                    Key[i].Time_Count_Flag = 0;
                    Key[i].Key_Double_Flag = 1;
                    Key[i].mode = 3;
                    Key[i].mode_now = 3;
                } else if (Key[i].Key_State == 1 && Key[i].Press_Time_Count >= SINGLE_MS) {
                    Key[i].Step = 4;
                    Key[i].Time_Count_Flag = 0;
                    Key[i].Key_Single_Flag = 1;
                    Key[i].mode = 1;
                    Key[i].mode_now = 1;
                }
            } break;
            case 4:
            {
                if (Key[i].Key_State == 1) {
                    Key[i].Step = 0;
                }
            } break;
        }
    }
  }
  /* USER CODE END Callback 0 */
  if (htim->Instance == TIM5)
  {
    HAL_IncTick();
  }
}

void Error_Handler(void)
{
  __disable_irq();
  while (1)
  {
  }
}

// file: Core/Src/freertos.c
/* USER CODE BEGIN Header */
/**
  ******************************************************************************
  * File Name          : freertos.c
  * Description        : Code for freertos applications
  ******************************************************************************
  * @attention
  *
  * Copyright (c) 2025 STMicroelectronics.
  * All rights reserved.
  *
  * This software is licensed under terms that can be found in the LICENSE file
  * in the root directory of this software component.
  * If no LICENSE file comes with this software, it is provided AS-IS.
  *
  ******************************************************************************
  */
/* USER CODE END Header */

#include "FreeRTOS.h"
#include "task.h"
#include "main.h"
#include "cmsis_os.h"

/* USER CODE BEGIN Includes */
#include "lcd_task.h"
#include "IMU_task.h"
#include "uart_task.h"
#include "foc_task.h"
#include "lvgl.h"
#include "lvgl_demo_task.h"
#include <stdio.h>

/* 非弱实现:堆分配失败(configTOTAL_HEAP_SIZE不够)时会调用到这里,打印后死循环,
   比静默返回NULL好排查得多。 */
void vApplicationMallocFailedHook(void)
{
  printf("$ERR,MALLOCFAILED#\r\n");
  for (;;)
  {
  }
}
/* USER CODE END Includes */

/* USER CODE BEGIN PTD */
// IMU 欧拉角数据结构体，用于队列传递

/* USER CODE END PTD */

/* USER CODE BEGIN PM */
osThreadId_t LcdTaskHandle;
const osThreadAttr_t Lcd_task_attributes = {
  .name = "LcdTask",
  .stack_size = 1024 * 4,
  /* 遥测显示非实时,优先级调低到UART任务之下,避免和FOC相关的UART上位机通信抢占;
     FOC控制本身跑在TIM10硬件中断里,不受任务优先级影响 */
  .priority = (osPriority_t) osPriorityLow,
};
osThreadId_t LvglTimerTaskHandle;
const osThreadAttr_t LvglTimer_task_attributes = {
  .name = "LvglTimerTask",
  /* LVGL部件绘制(圆弧/字体/动画)比原来的纯字符刷新更吃栈,512字太小容易栈溢出,提到2048字 */
  .stack_size = 2048 * 4,
  .priority = (osPriority_t) osPriorityHigh,
};
osThreadId_t IMU9250TaskHandle;
const osThreadAttr_t IMU9250_task_attributes = {
  .name = "IMU9250Task",
  .stack_size = 1024 * 4,
  .priority = (osPriority_t) osPriorityNormal,
};
osThreadId_t UARTTaskHandle;
const osThreadAttr_t UART_task_attributes = {
  .name = "UARTTask",
  .stack_size = 1024 * 4,
  .priority = (osPriority_t) osPriorityHigh,
};
osThreadId_t AngleTaskHandle;
const osThreadAttr_t Angle_task_attributes = {
  .name = "AngleTask",
  .stack_size = 512 * 4,
  .priority = (osPriority_t) osPriorityNormal,
};
osMessageQueueId_t IMUQueueHandle;
osMessageQueueId_t FOCQueueHandle;
osMessageQueueId_t PIDQueueHandle;
osMessageQueueId_t UARTQueueHandle;
/* USER CODE END PM */

/* Definitions for defaultTask */
osThreadId_t defaultTaskHandle;
const osThreadAttr_t defaultTask_attributes = {
  .name = "defaultTask",
  .stack_size = 128 * 4,
  .priority = (osPriority_t) osPriorityNormal,
};

/* USER CODE BEGIN FunctionPrototypes */
void LcdTask_Entry(void *argument);
void LvglTimerTask_Entry(void *argument);
/* USER CODE END FunctionPrototypes */

void StartDefaultTask(void *argument);

void MX_FREERTOS_Init(void); /* (MISRA C 2004 rule 8.1) */

void MX_FREERTOS_Init(void) {

  /* USER CODE BEGIN RTOS_QUEUES */
  /* add queues, ... */
  // 创建 IMU 欧拉角队列，容量8个
  IMUQueueHandle = osMessageQueueNew(8, sizeof(IMU_Euler_t), NULL);
  PIDQueueHandle = osMessageQueueNew(6, sizeof(PID_Param_t), NULL);
  FOCQueueHandle = osMessageQueueNew(8, sizeof(FOC_Data_t), NULL);
  UARTQueueHandle = osMessageQueueNew(1, sizeof(UART_Frame_t), NULL);
  /* USER CODE END RTOS_QUEUES */

  /* Create the thread(s) */
  /* creation of defaultTask */
  // defaultTaskHandle = osThreadNew(StartDefaultTask, NULL, &defaultTask_attributes);

  /* USER CODE BEGIN RTOS_THREADS */
  /* add threads, ... */
  LcdTaskHandle = osThreadNew(LcdTask_Entry,NULL,&Lcd_task_attributes);
  LvglTimerTaskHandle = osThreadNew(LvglTimerTask_Entry, NULL, &LvglTimer_task_attributes);
  // IMU9250TaskHandle = osThreadNew(IMU9250Task_Entry, NULL, &IMU9250_task_attributes);
  UARTTaskHandle = osThreadNew(UARTTask_Entry, NULL, &UART_task_attributes);
  // AngleTaskHandle = osThreadNew(AngleTask_Entry, NULL, &Angle_task_attributes);

  /* configTOTAL_HEAP_SIZE不够时osThreadNew会静默返回NULL(之前排查"能发不能收"就是
     卡在这里:堆不够,UARTTaskHandle==NULL,UART任务从未运行)。这里显式检查并打印,
     避免下次再静默失败几个小时都发现不了。 */
  if ((LcdTaskHandle == NULL) || (LvglTimerTaskHandle == NULL) || (UARTTaskHandle == NULL))
  {
    printf("$ERR,TASKCREATE,Lcd=%p,Lvgl=%p,Uart=%p#\r\n",
           (void *)LcdTaskHandle, (void *)LvglTimerTaskHandle, (void *)UARTTaskHandle);
  }

  /* USER CODE END RTOS_THREADS */

}

void StartDefaultTask(void *argument)
{
  for(;;)
  {
    osDelay(1);
  }
}

/* USER CODE BEGIN Application */
__weak void LcdTask_Entry(void *argument)
{
  /* USER CODE BEGIN LcdTask_Entry */
  /* Infinite loop */
  for(;;)
  {
    osDelay(1);
  }
  /* USER CODE END LcdTask_Entry */
}

void LvglTimerTask_Entry(void *argument)
{
  /* USER CODE BEGIN LvglTimerTask_Entry */
  /* Infinite loop */
  for(;;)
  {
    /* 由 g_lvgl_demo_enable 开关驱动: 关闭时保持空闲,不初始化LVGL也不碰LCD/SPI;
       打开时负责与LCD遥测任务互斥切换总线、喂tick、调用lv_timer_handler并统计帧率 */
    LvglDemo_Process();

    /* 延时5ms，实现5ms周期调用 */
    osDelay(5);
  }
  /* USER CODE END LvglTimerTask_Entry */
}
/* USER CODE END Application */
